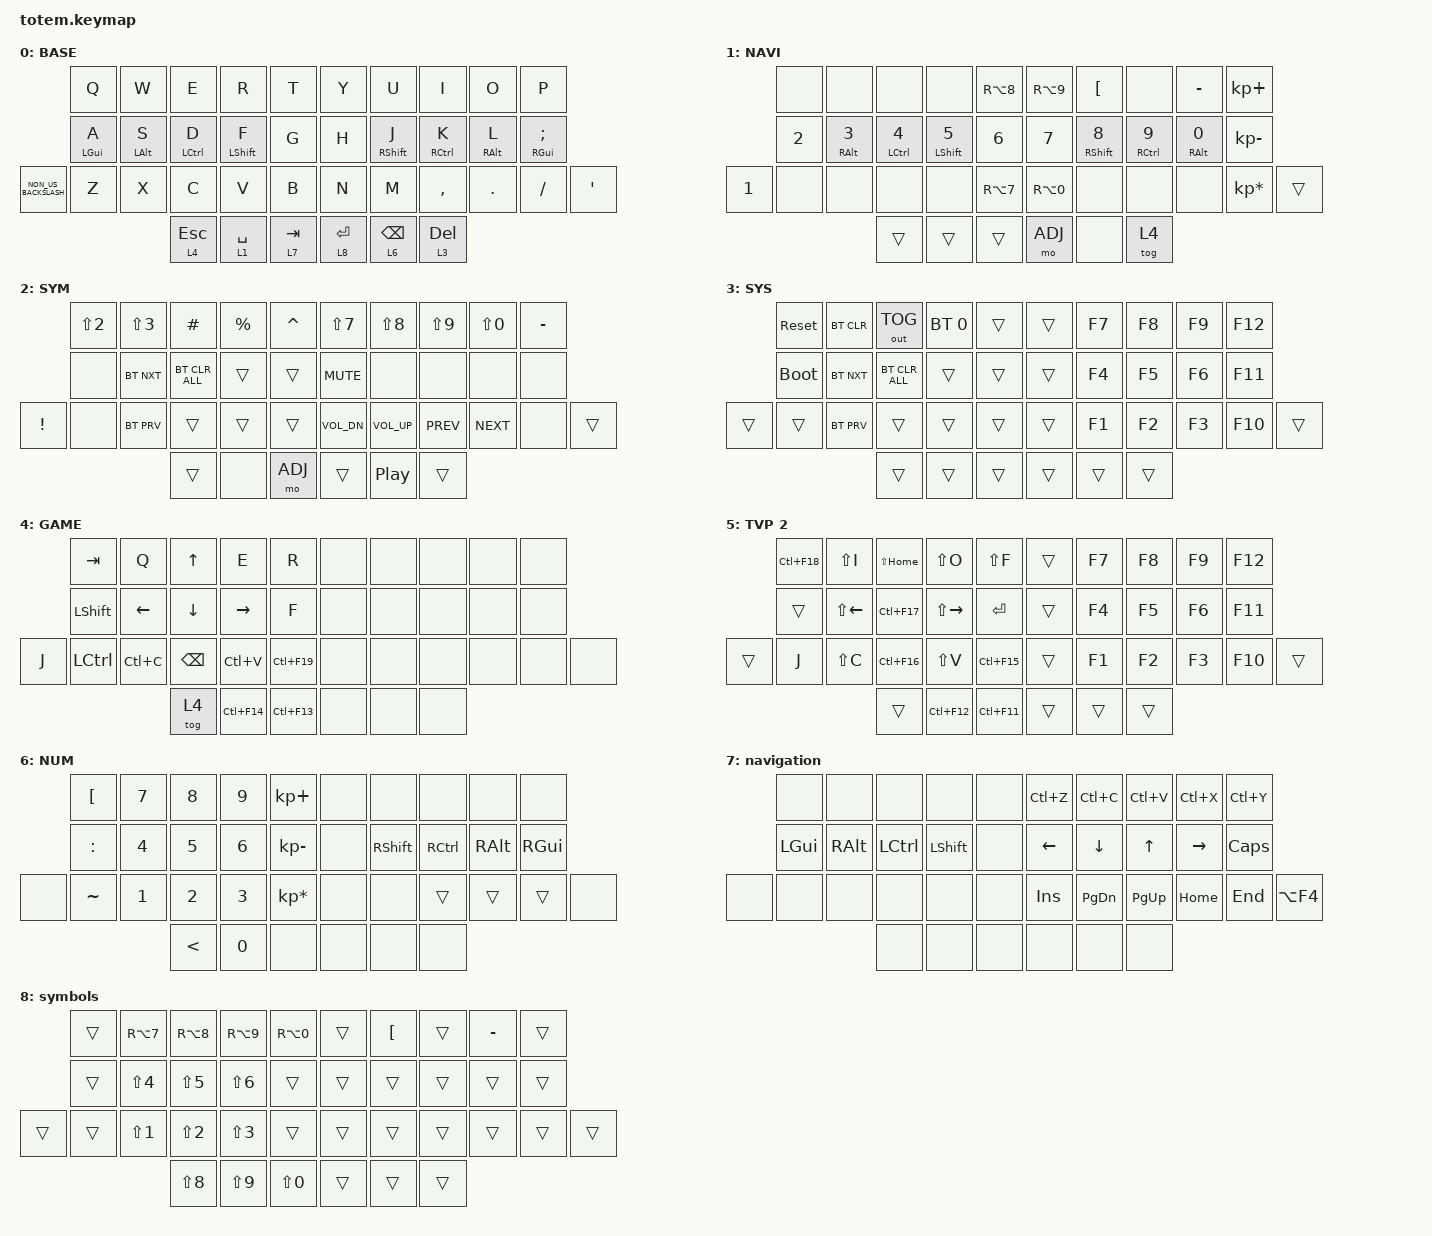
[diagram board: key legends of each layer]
//
//                                                        ▀▀▀▀▀     ▀▀▀▀▀          ▀▀█▀▀
//                                                        ▄▀▀▀▄  ▄  ▄▀▀▀▄  ▄  ▄▀▀▀▄  █  ▄▀▀▀▄
//                                                        █   █  █  █   █  █  █   █  █  █   █
//                                                         ▀▀▀   █   ▀▀▀   █   ▀▀▀   ▀   ▀▀▀
//                                                               █      ▄▄▄█▄▄▄    █   █  
//                                                               ▀      █  █  █     █▄█
//                                                             ▀▀▀▀▀    █  █  █      ▀
//                                                                      ▀  ▀  ▀
//
// ▄▄▄▄▄▄▄▄▄▄▄▄▄▄▄▄▄▄▄▄▄▄▄▄▄▄▄▄▄▄▄▄▄▄▄▄▄▄▄▄▄▄▄▄▄▄▄▄▄▄▄▄▄▄▄▄▄▄▄▄▄▄▄▄▄▄▄▄▄▄▄▄▄▄▄▄▄▄▄▄▄▄▄▄▄▄▄▄▄▄▄▄▄▄▄▄▄▄▄▄▄▄▄▄▄▄▄▄▄▄▄▄▄▄▄▄▄▄▄▄▄▄▄▄▄▄▄▄▄▄▄▄▄▄▄▄▄▄▄▄▄▄▄▄▄▄▄▄▄

#include <behaviors.dtsi>
#include <dt-bindings/zmk/bt.h>
#include <dt-bindings/zmk/keys.h>
#include <dt-bindings/zmk/outputs.h>

#define BASE 0
#define NAV  1
#define SYM  2
#define ADJ  3
#define TVP1 4
#define TVP2 5

&mt {
    quick-tap-ms = <100>;
    global-quick-tap;
    flavor = "tap-preferred";
    tapping-term-ms = <170>;
};

/ {
    combos {
        compatible = "zmk,combos";

        combo_esc {
            timeout-ms = <50>;
            key-positions = <0 1>;
            bindings = <&kp ESC>;
        };

        caps {
            bindings = <&kp CAPS>;
            key-positions = <3 6>;
        };
    };

    macros {
        gif: gif {
            label = "giphy";
            compatible = "zmk,behavior-macro";
            #binding-cells = <0>;
            bindings =
                <&macro_press>,
                <&kp LSHFT>,
                <&macro_tap>,
                <&kp N2>,
                <&macro_release>,
                <&kp LSHFT>,
                <&macro_tap>,
                <&kp G &kp I &kp F>;
        };
    };

    keymap {
        compatible = "zmk,keymap";

        // ▄▄▄▄▄▄▄▄▄▄▄▄▄▄▄▄▄▄▄▄▄▄▄▄▄▄▄▄▄▄▄▄▄▄▄▄▄▄▄▄▄▄▄▄▄▄▄▄▄▄▄▄▄▄▄▄▄▄▄▄▄▄▄▄▄▄▄▄▄▄▄▄▄▄▄▄▄▄▄▄▄▄▄▄▄▄▄▄▄▄▄▄▄▄▄▄▄▄▄▄▄▄▄▄▄▄▄▄▄▄▄▄▄▄▄▄▄▄▄▄▄▄▄▄▄▄▄▄▄▄▄▄▄▄▄▄▄▄▄▄▄▄▄▄▄▄▄▄▄

        base_layer {
            // ┏━━━━━━━━━━━━━━━━━━━━━━━━━━━━━━━━━━━━━━━┓

            label = "BASE";

            // ┗━━━━━━━━━━━━━━━━━━━━━━━━━━━━━━━━━━━━━━━┛
            //             ┏━━━━━━━━━━━┳━━━━━━━━━━━┳━━━━━━━━━━━┳━━━━━━━━━━━┳━━━━━━━━━━━┓   ┏━━━━━━━━━━━┳━━━━━━━━━━━┳━━━━━━━━━━━┳━━━━━━━━━━━┳━━━━━━━━━━━┓
            //             ┃     Q     ┃     W     ┃     F     ┃     P     ┃     G     ┃   ┃     J     ┃     L     ┃     U     ┃     Y     ┃     ;     ┃
            //             ┣━━━━━━━━━━━╋━━━━━━━━━━━╋━━━━━━━━━━━╋━━━━━━━━━━━╋━━━━━━━━━━━┫   ┣━━━━━━━━━━━╋━━━━━━━━━━━╋━━━━━━━━━━━╋━━━━━━━━━━━╋━━━━━━━━━━━┫
            //             ┃     A     ┃     R     ┃     S     ┃     T     ┃     D     ┃   ┃     H     ┃     N     ┃     E     ┃     I     ┃     O     ┃
            // ┏━━━━━━━━━━━╋━━━━━━━━━━━╋━━━━━━━━━━━╋━━━━━━━━━━━╋━━━━━━━━━━━╋━━━━━━━━━━━┫   ┣━━━━━━━━━━━╋━━━━━━━━━━━╋━━━━━━━━━━━╋━━━━━━━━━━━╋━━━━━━━━━━━╋━━━━━━━━━━━┓
            // ┃     Q     ┃     Z     ┃     X     ┃     C     ┃     V     ┃     B     ┃   ┃     K     ┃     M     ┃     ,     ┃     .     ┃     /     ┃     \     ┃
            // ┗━━━━━━━━━━━┻━━━━━━━━━━━┻━━━━━━━━━━━╋━━━━━━━━━━━╋━━━━━━━━━━━╋━━━━━━━━━━━┫   ┣━━━━━━━━━━━╋━━━━━━━━━━━╋━━━━━━━━━━━╋━━━━━━━━━━━┻━━━━━━━━━━━┻━━━━━━━━━━━┛
            //                                     ┃    DEL    ┃    TAB    ┃    SPC    ┃   ┃   ENTER   ┃           ┃   BSPC    ┃
            //                                     ┗━━━━━━━━━━━┻━━━━━━━━━━━┻━━━━━━━━━━━┛   ┗━━━━━━━━━━━┻━━━━━━━━━━━┻━━━━━━━━━━━┛

            bindings = <
                      &kp Q       &kp W       &kp E         &kp R        &kp T        &kp Y         &kp U            &kp I         &kp O       &kp P
                      &mt LGUI A  &mt LALT S  &mt LCTRL D   &mt LSHFT F  &kp G        &kp H         &mt RSHFT J      &mt RCTRL K   &mt RALT L  &mt RGUI SEMICOLON
&kp NON_US_BACKSLASH  &kp Z       &kp X       &kp C         &kp V        &kp B        &kp N         &kp M            &kp COMMA     &kp DOT     &kp SLASH           &kp SINGLE_QUOTE
                                              &lt 4 ESCAPE  &lt 1 SPACE  &lt 7 TAB    &lt 8 RETURN  &lt 6 BACKSPACE  &lt 3 DELETE
            >;
        };

        // ▄▄▄▄▄▄▄▄▄▄▄▄▄▄▄▄▄▄▄▄▄▄▄▄▄▄▄▄▄▄▄▄▄▄▄▄▄▄▄▄▄▄▄▄▄▄▄▄▄▄▄▄▄▄▄▄▄▄▄▄▄▄▄▄▄▄▄▄▄▄▄▄▄▄▄▄▄▄▄▄▄▄▄▄▄▄▄▄▄▄▄▄▄▄▄▄▄▄▄▄▄▄▄▄▄▄▄▄▄▄▄▄▄▄▄▄▄▄▄▄▄▄▄▄▄▄▄▄▄▄▄▄▄▄▄▄▄▄▄▄▄▄▄▄▄▄▄▄▄

        nav_layer {
            // ┏━━━━━━━━━━━━━━━━━━━━━━━━━━━━━━━━━━━━━━━┓

            label = "NAVI";

            // ┗━━━━━━━━━━━━━━━━━━━━━━━━━━━━━━━━━━━━━━━┛
            //             ┏━━━━━━━━━━━┳━━━━━━━━━━━┳━━━━━━━━━━━┳━━━━━━━━━━━┳━━━━━━━━━━━┓   ┏━━━━━━━━━━━┳━━━━━━━━━━━┳━━━━━━━━━━━┳━━━━━━━━━━━┳━━━━━━━━━━━┓
            //             ┃           ┃           ┃     UP    ┃           ┃     {     ┃   ┃     }     ┃     7     ┃     8     ┃     9     ┃     +     ┃
            //             ┣━━━━━━━━━━━╋━━━━━━━━━━━╋━━━━━━━━━━━╋━━━━━━━━━━━╋━━━━━━━━━━━┫   ┣━━━━━━━━━━━╋━━━━━━━━━━━╋━━━━━━━━━━━╋━━━━━━━━━━━╋━━━━━━━━━━━┫
            //             ┃   SHIFT   ┃   LEFT    ┃    DOWN   ┃   RIGHT   ┃     [     ┃   ┃     ]     ┃     4     ┃     5     ┃     6     ┃     -     ┃
            // ┏━━━━━━━━━━━╋━━━━━━━━━━━╋━━━━━━━━━━━╋━━━━━━━━━━━╋━━━━━━━━━━━╋━━━━━━━━━━━┫   ┣━━━━━━━━━━━╋━━━━━━━━━━━╋━━━━━━━━━━━╋━━━━━━━━━━━╋━━━━━━━━━━━╋━━━━━━━━━━━┓
            // ┃           ┃           ┃   P UP    ┃  C LOCK   ┃  P DOWN   ┃     (     ┃   ┃     )     ┃     1     ┃     2     ┃     3     ┃     *     ┃           ┃
            // ┗━━━━━━━━━━━┻━━━━━━━━━━━┻━━━━━━━━━━━╋━━━━━━━━━━━╋━━━━━━━━━━━╋━━━━━━━━━━━┫   ┣━━━━━━━━━━━╋━━━━━━━━━━━╋━━━━━━━━━━━╋━━━━━━━━━━━┻━━━━━━━━━━━┻━━━━━━━━━━━┛
            //                                     ┃           ┃    TAB    ┃    SPC    ┃   ┃    DEL    ┃     0     ┃           ┃
            //                                     ┗━━━━━━━━━━━┻━━━━━━━━━━━┻━━━━━━━━━━━┛   ┗━━━━━━━━━━━┻━━━━━━━━━━━┻━━━━━━━━━━━┛

            bindings = <
              &none         &none                   &none                      &none                    &kp RA(NUMBER_8)    &kp RA(NUMBER_9)  &kp LEFT_BRACKET          &none                       &kp MINUS               &kp KP_PLUS
              &kp NUMBER_2  &mt RIGHT_ALT NUMBER_3  &mt LEFT_CONTROL NUMBER_4  &mt LEFT_SHIFT NUMBER_5  &kp NUMBER_6        &kp NUMBER_7      &mt RIGHT_SHIFT NUMBER_8  &mt RIGHT_CONTROL NUMBER_9  &mt RIGHT_ALT NUMBER_0  &kp KP_MINUS
&kp NUMBER_1  &none         &none                   &none                      &none                    &kp RA(NUMBER_7)    &kp RA(NUMBER_0)  &none                     &none                       &none                   &kp KP_MULTIPLY  &trans
                                                    &trans                     &trans                   &trans              &mo ADJ           &none                     &tog 4
            >;
        };

        // ▄▄▄▄▄▄▄▄▄▄▄▄▄▄▄▄▄▄▄▄▄▄▄▄▄▄▄▄▄▄▄▄▄▄▄▄▄▄▄▄▄▄▄▄▄▄▄▄▄▄▄▄▄▄▄▄▄▄▄▄▄▄▄▄▄▄▄▄▄▄▄▄▄▄▄▄▄▄▄▄▄▄▄▄▄▄▄▄▄▄▄▄▄▄▄▄▄▄▄▄▄▄▄▄▄▄▄▄▄▄▄▄▄▄▄▄▄▄▄▄▄▄▄▄▄▄▄▄▄▄▄▄▄▄▄▄▄▄▄▄▄▄▄▄▄▄▄▄▄

        sim_layer {
            // ┏━━━━━━━━━━━━━━━━━━━━━━━━━━━━━━━━━━━━━━━┓

            label = "SYM";

            // ┗━━━━━━━━━━━━━━━━━━━━━━━━━━━━━━━━━━━━━━━┛
            //             ┏━━━━━━━━━━━┳━━━━━━━━━━━┳━━━━━━━━━━━┳━━━━━━━━━━━┳━━━━━━━━━━━┓   ┏━━━━━━━━━━━┳━━━━━━━━━━━┳━━━━━━━━━━━┳━━━━━━━━━━━┳━━━━━━━━━━━┓
            //             ┃     !     ┃     @     ┃     #     ┃     $     ┃     %     ┃   ┃     ˆ     ┃     &     ┃     Ü     ┃     '     ┃     "     ┃
            //             ┣━━━━━━━━━━━╋━━━━━━━━━━━╋━━━━━━━━━━━╋━━━━━━━━━━━╋━━━━━━━━━━━┫   ┣━━━━━━━━━━━╋━━━━━━━━━━━╋━━━━━━━━━━━╋━━━━━━━━━━━╋━━━━━━━━━━━┫
            //             ┃     Ä     ┃           ┃    SZ     ┃           ┃           ┃   ┃   MUTE    ┃   YEN     ┃   EURO    ┃  POUND    ┃     Ö     ┃
            // ┏━━━━━━━━━━━╋━━━━━━━━━━━╋━━━━━━━━━━━╋━━━━━━━━━━━╋━━━━━━━━━━━╋━━━━━━━━━━━┫   ┣━━━━━━━━━━━╋━━━━━━━━━━━╋━━━━━━━━━━━╋━━━━━━━━━━━╋━━━━━━━━━━━╋━━━━━━━━━━━┓
            // ┃           ┃  EMAIL1   ┃  EMAIL2   ┃           ┃           ┃           ┃   ┃   VOL-    ┃   VOL+    ┃   LAST    ┃   NEXT    ┃     \     ┃           ┃
            // ┗━━━━━━━━━━━┻━━━━━━━━━━━┻━━━━━━━━━━━╋━━━━━━━━━━━╋━━━━━━━━━━━╋━━━━━━━━━━━┫   ┣━━━━━━━━━━━╋━━━━━━━━━━━╋━━━━━━━━━━━╋━━━━━━━━━━━┻━━━━━━━━━━━┻━━━━━━━━━━━┛
            //                                     ┃           ┃    GIF    ┃    ADJ    ┃   ┃           ┃           ┃           ┃
            //                                     ┗━━━━━━━━━━━┻━━━━━━━━━━━┻━━━━━━━━━━━┛   ┗━━━━━━━━━━━┻━━━━━━━━━━━┻━━━━━━━━━━━┛

            bindings = <
                 &kp LS(NUMBER_2)  &kp LS(NUMBER_3)  &kp HASH        &kp PERCENT  &kp CARET    &kp LS(NUMBER_7)  &kp LS(NUMBER_8)  &kp LS(NUMBER_9)  &kp LS(NUMBER_0)  &kp MINUS
                 &none             &bt BT_NXT        &bt BT_CLR_ALL  &trans       &trans       &kp C_MUTE        &none             &none             &none             &none
&kp EXCLAMATION  &none             &bt BT_PRV        &trans          &trans       &trans       &kp C_VOL_DN      &kp C_VOL_UP      &kp C_PREV        &kp C_NEXT        &none      &trans
                                                     &trans          &none        &mo ADJ      &trans            &kp C_PP          &trans
            >;
        };

        // ▄▄▄▄▄▄▄▄▄▄▄▄▄▄▄▄▄▄▄▄▄▄▄▄▄▄▄▄▄▄▄▄▄▄▄▄▄▄▄▄▄▄▄▄▄▄▄▄▄▄▄▄▄▄▄▄▄▄▄▄▄▄▄▄▄▄▄▄▄▄▄▄▄▄▄▄▄▄▄▄▄▄▄▄▄▄▄▄▄▄▄▄▄▄▄▄▄▄▄▄▄▄▄▄▄▄▄▄▄▄▄▄▄▄▄▄▄▄▄▄▄▄▄▄▄▄▄▄▄▄▄▄▄▄▄▄▄▄▄▄▄▄▄▄▄▄▄▄▄

        system_layer {
            // ┏━━━━━━━━━━━━━━━━━━━━━━━━━━━━━━━━━━━━━━━┓

            label = "SYS";

            // ┗━━━━━━━━━━━━━━━━━━━━━━━━━━━━━━━━━━━━━━━┛
            //             ┏━━━━━━━━━━━┳━━━━━━━━━━━┳━━━━━━━━━━━┳━━━━━━━━━━━┳━━━━━━━━━━━┓   ┏━━━━━━━━━━━┳━━━━━━━━━━━┳━━━━━━━━━━━┳━━━━━━━━━━━┳━━━━━━━━━━━┓
            //             ┃   RESET   ┃ BT CLEAR  ┃  OUT TOG  ┃           ┃           ┃   ┃           ┃    F7     ┃    F8     ┃    F9     ┃    F12    ┃
            //             ┣━━━━━━━━━━━╋━━━━━━━━━━━╋━━━━━━━━━━━╋━━━━━━━━━━━╋━━━━━━━━━━━┫   ┣━━━━━━━━━━━╋━━━━━━━━━━━╋━━━━━━━━━━━╋━━━━━━━━━━━╋━━━━━━━━━━━┫
            //             ┃ BOOTLOAD  ┃ BT NEXT   ┃           ┃           ┃           ┃   ┃           ┃    F4     ┃    F5     ┃    F6     ┃    F11    ┃
            // ┏━━━━━━━━━━━╋━━━━━━━━━━━╋━━━━━━━━━━━╋━━━━━━━━━━━╋━━━━━━━━━━━╋━━━━━━━━━━━┫   ┣━━━━━━━━━━━╋━━━━━━━━━━━╋━━━━━━━━━━━╋━━━━━━━━━━━╋━━━━━━━━━━━╋━━━━━━━━━━━┓
            // ┃           ┃           ┃ BT PREV   ┃           ┃           ┃           ┃   ┃           ┃    F1     ┃    F2     ┃    F3     ┃    F10    ┃           ┃
            // ┗━━━━━━━━━━━┻━━━━━━━━━━━┻━━━━━━━━━━━╋━━━━━━━━━━━╋━━━━━━━━━━━╋━━━━━━━━━━━┫   ┣━━━━━━━━━━━╋━━━━━━━━━━━╋━━━━━━━━━━━╋━━━━━━━━━━━┻━━━━━━━━━━━┻━━━━━━━━━━━┛
            //                                     ┃           ┃           ┃           ┃   ┃           ┃           ┃           ┃
            //                                     ┗━━━━━━━━━━━┻━━━━━━━━━━━┻━━━━━━━━━━━┛   ┗━━━━━━━━━━━┻━━━━━━━━━━━┻━━━━━━━━━━━┛

            bindings = <
        &sys_reset   &bt BT_CLR  &out OUT_TOG    &bt BT_SEL 0  &trans    &trans  &kp F7  &kp F8  &kp F9  &kp F12
        &bootloader  &bt BT_NXT  &bt BT_CLR_ALL  &trans        &trans    &trans  &kp F4  &kp F5  &kp F6  &kp F11
&trans  &trans       &bt BT_PRV  &trans          &trans        &trans    &trans  &kp F1  &kp F2  &kp F3  &kp F10  &trans
                                 &trans          &trans        &trans    &trans  &trans  &trans
            >;
        };

        // ▄▄▄▄▄▄▄▄▄▄▄▄▄▄▄▄▄▄▄▄▄▄▄▄▄▄▄▄▄▄▄▄▄▄▄▄▄▄▄▄▄▄▄▄▄▄▄▄▄▄▄▄▄▄▄▄▄▄▄▄▄▄▄▄▄▄▄▄▄▄▄▄▄▄▄▄▄▄▄▄▄▄▄▄▄▄▄▄▄▄▄▄▄▄▄▄▄▄▄▄▄▄▄▄▄▄▄▄▄▄▄▄▄▄▄▄▄▄▄▄▄▄▄▄▄▄▄▄▄▄▄▄▄▄▄▄▄▄▄▄▄▄▄▄▄▄▄▄▄

        gaming_layer {
            // ┏━━━━━━━━━━━━━━━━━━━━━━━━━━━━━━━━━━━━━━━┓

            label = "GAME";

            // ┗━━━━━━━━━━━━━━━━━━━━━━━━━━━━━━━━━━━━━━━┛
            //             ┏━━━━━━━━━━━┳━━━━━━━━━━━┳━━━━━━━━━━━┳━━━━━━━━━━━┳━━━━━━━━━━━┓   ┏━━━━━━━━━━━┳━━━━━━━━━━━┳━━━━━━━━━━━┳━━━━━━━━━━━┳━━━━━━━━━━━┓
            //             ┃ NEXT FILE ┃ MARK IN   ┃ ROTATE    ┃ MARK OUT  ┃ SHOW SNAP ┃   ┃           ┃           ┃           ┃           ┃           ┃
            //             ┣━━━━━━━━━━━╋━━━━━━━━━━━╋━━━━━━━━━━━╋━━━━━━━━━━━╋━━━━━━━━━━━┫   ┣━━━━━━━━━━━╋━━━━━━━━━━━╋━━━━━━━━━━━╋━━━━━━━━━━━╋━━━━━━━━━━━┫
            //             ┃ TVP II    ┃ LEFT      ┃ PAN       ┃ RIGHT     ┃ PLAY/FLIP ┃   ┃           ┃           ┃           ┃           ┃           ┃
            // ┏━━━━━━━━━━━╋━━━━━━━━━━━╋━━━━━━━━━━━╋━━━━━━━━━━━╋━━━━━━━━━━━╋━━━━━━━━━━━┫   ┣━━━━━━━━━━━╋━━━━━━━━━━━╋━━━━━━━━━━━╋━━━━━━━━━━━╋━━━━━━━━━━━╋━━━━━━━━━━━┓
            // ┃ FULLSCR   ┃ SHIFT     ┃ COPY      ┃ DELETE    ┃ PASTE     ┃ IMG MARK  ┃   ┃           ┃           ┃           ┃           ┃           ┃           ┃
            // ┗━━━━━━━━━━━┻━━━━━━━━━━━┻━━━━━━━━━━━╋━━━━━━━━━━━╋━━━━━━━━━━━╋━━━━━━━━━━━┫   ┣━━━━━━━━━━━╋━━━━━━━━━━━╋━━━━━━━━━━━╋━━━━━━━━━━━┻━━━━━━━━━━━┻━━━━━━━━━━━┛
            //                                     ┃           ┃ UNDO/SAVE ┃  SEL/MOV  ┃   ┃           ┃           ┃           ┃
            //                                     ┗━━━━━━━━━━━┻━━━━━━━━━━━┻━━━━━━━━━━━┛   ┗━━━━━━━━━━━┻━━━━━━━━━━━┻━━━━━━━━━━━┛

            bindings = <
       &kp TAB           &kp Q      &kp UP_ARROW    &kp E        &kp R          &none  &none  &none  &none  &none
       &kp LSHIFT        &kp LEFT   &kp DOWN_ARROW  &kp RIGHT    &kp F          &none  &none  &none  &none  &none
&kp J  &kp LEFT_CONTROL  &kp LC(C)  &kp BSPC        &kp LC(V)    &kp LC(F19)    &none  &none  &none  &none  &none  &none
                                    &tog 4          &kp LC(F14)  &kp LC(F13)    &none  &none  &none
            >;
        };

        // ▄▄▄▄▄▄▄▄▄▄▄▄▄▄▄▄▄▄▄▄▄▄▄▄▄▄▄▄▄▄▄▄▄▄▄▄▄▄▄▄▄▄▄▄▄▄▄▄▄▄▄▄▄▄▄▄▄▄▄▄▄▄▄▄▄▄▄▄▄▄▄▄▄▄▄▄▄▄▄▄▄▄▄▄▄▄▄▄▄▄▄▄▄▄▄▄▄▄▄▄▄▄▄▄▄▄▄▄▄▄▄▄▄▄▄▄▄▄▄▄▄▄▄▄▄▄▄▄▄▄▄▄▄▄▄▄▄▄▄▄▄▄▄▄▄▄▄▄▄

        tvp2_layer {
            // ┏━━━━━━━━━━━━━━━━━━━━━━━━━━━━━━━━━━━━━━━┓

            label = "TVP 2";

            // ┗━━━━━━━━━━━━━━━━━━━━━━━━━━━━━━━━━━━━━━━┛
            //             ┏━━━━━━━━━━━┳━━━━━━━━━━━┳━━━━━━━━━━━┳━━━━━━━━━━━┳━━━━━━━━━━━┓   ┏━━━━━━━━━━━┳━━━━━━━━━━━┳━━━━━━━━━━━┳━━━━━━━━━━━┳━━━━━━━━━━━┓
            //             ┃ SOLO      ┃ TOGGLE IN ┃ RESET ROT ┃ TOGGLE OUT┃ TAKE SNAP ┃   ┃           ┃           ┃           ┃           ┃           ┃
            //             ┣━━━━━━━━━━━╋━━━━━━━━━━━╋━━━━━━━━━━━╋━━━━━━━━━━━╋━━━━━━━━━━━┫   ┣━━━━━━━━━━━╋━━━━━━━━━━━╋━━━━━━━━━━━╋━━━━━━━━━━━╋━━━━━━━━━━━┫
            //             ┃ ---       ┃ LAST KEY  ┃ NEW KEY   ┃ NEXT KEY  ┃ ENTER     ┃   ┃           ┃           ┃           ┃           ┃           ┃
            // ┏━━━━━━━━━━━╋━━━━━━━━━━━╋━━━━━━━━━━━╋━━━━━━━━━━━╋━━━━━━━━━━━╋━━━━━━━━━━━┫   ┣━━━━━━━━━━━╋━━━━━━━━━━━╋━━━━━━━━━━━╋━━━━━━━━━━━╋━━━━━━━━━━━╋━━━━━━━━━━━┓
            // ┃           ┃ FULLSCR   ┃ CPY2BRUSH ┃ DEL HEAD  ┃ PSTinPLACE┃ BOOK MARK ┃   ┃           ┃           ┃           ┃           ┃           ┃           ┃
            // ┗━━━━━━━━━━━┻━━━━━━━━━━━┻━━━━━━━━━━━╋━━━━━━━━━━━╋━━━━━━━━━━━╋━━━━━━━━━━━┫   ┣━━━━━━━━━━━╋━━━━━━━━━━━╋━━━━━━━━━━━╋━━━━━━━━━━━┻━━━━━━━━━━━┻━━━━━━━━━━━┛
            //                                     ┃           ┃ REDO/SAV1 ┃TRANS/WARP ┃   ┃           ┃           ┃           ┃
            //                                     ┗━━━━━━━━━━━┻━━━━━━━━━━━┻━━━━━━━━━━━┛   ┗━━━━━━━━━━━┻━━━━━━━━━━━┻━━━━━━━━━━━┛

            bindings = <
        &kp LC(F18)  &kp LS(I)     &kp LS(HOME)  &kp LS(O)      &kp LS(F)      &trans  &kp F7  &kp F8  &kp F9  &kp F12
        &trans       &kp LS(LEFT)  &kp LC(F17)   &kp LS(RIGHT)  &kp RET        &trans  &kp F4  &kp F5  &kp F6  &kp F11
&trans  &kp J        &kp LS(C)     &kp LC(F16)   &kp LS(V)      &kp LC(F15)    &trans  &kp F1  &kp F2  &kp F3  &kp F10  &trans
                                   &trans        &kp LC(F12)    &kp LC(F11)    &trans  &trans  &trans
            >;
        };

        num_layer {
            bindings = <
       &kp LEFT_BRACKET  &kp N7  &kp N8         &kp N9  &kp KP_PLUS        &none  &none            &none              &none          &none
       &kp COLON         &kp N4  &kp N5         &kp N6  &kp KP_MINUS       &none  &kp RIGHT_SHIFT  &kp RIGHT_CONTROL  &kp RIGHT_ALT  &kp RIGHT_GUI
&none  &kp TILDE         &kp N1  &kp N2         &kp N3  &kp KP_MULTIPLY    &none  &none            &trans             &trans         &trans         &none
                                 &kp LESS_THAN  &kp N0  &none              &none  &none            &none
            >;

            label = "NUM";
        };

        navigation {
            bindings = <
       &none         &none          &none             &none           &none    &kp LC(Z)   &kp LC(C)      &kp LC(V)    &kp LC(X)  &kp LC(Y)
       &kp LEFT_GUI  &kp RIGHT_ALT  &kp LEFT_CONTROL  &kp LEFT_SHIFT  &none    &kp LEFT    &kp DOWN       &kp UP       &kp RIGHT  &kp CAPS
&none  &none         &none          &none             &none           &none    &kp INSERT  &kp PAGE_DOWN  &kp PAGE_UP  &kp HOME   &kp END    &kp LA(F4)
                                    &none             &none           &none    &none       &none          &none
            >;
        };

        symbols {
            bindings = <
        &trans  &kp RA(N7)  &kp RA(N8)        &kp RA(N9)  &kp RA(N0)    &trans  &kp LEFT_BRACKET  &trans  &kp MINUS  &trans
        &trans  &kp LS(N4)  &kp LS(N5)        &kp LS(N6)  &trans        &trans  &trans            &trans  &trans     &trans
&trans  &trans  &kp LS(N1)  &kp LS(N2)        &kp LS(N3)  &trans        &trans  &trans            &trans  &trans     &trans  &trans
                            &kp LS(NUMBER_8)  &kp LS(N9)  &kp LS(N0)    &trans  &trans            &trans
            >;
        };
    };
};
